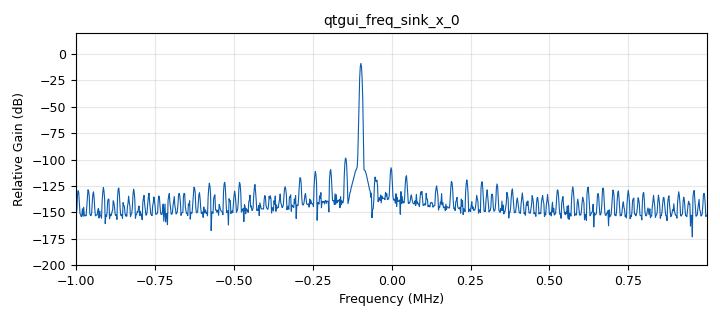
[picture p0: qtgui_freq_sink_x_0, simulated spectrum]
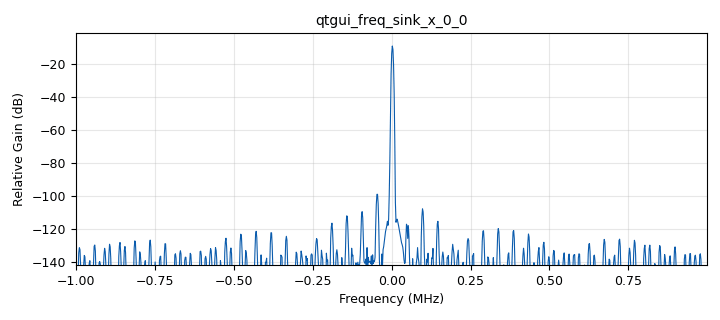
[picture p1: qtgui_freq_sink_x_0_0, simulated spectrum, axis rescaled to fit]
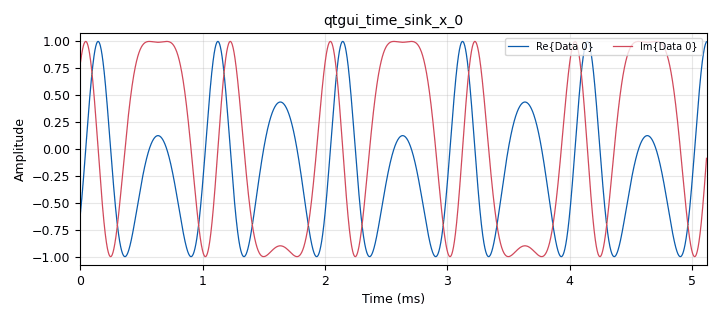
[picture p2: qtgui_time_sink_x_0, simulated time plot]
options:
  parameters:
    generate_options: qt_gui
    id: top_block
    output_language: python
  states: {}

blocks:
- name: ampl
  id: variable_qtgui_range
  parameters:
    start: '0'
    step: '0.01'
    stop: '1'
    value: '1'
  states: {}
- name: deviation
  id: variable_qtgui_range
  parameters:
    start: '0'
    step: '100'
    stop: '15000'
    value: '2500'
  states: {}
- name: freq
  id: variable
  parameters:
    value: '500'
  states: {}
- name: freq_0
  id: variable
  parameters:
    value: '800'
  states: {}
- name: freq_Hz
  id: variable
  parameters:
    value: '-100000'
  states: {}
- name: ip
  id: variable
  parameters:
    value: '"ip:192.168.1.28"'
  states: {}
- name: samp_rate
  id: variable
  parameters:
    value: '2000000'
  states: {}
- name: analog_frequency_modulator_fc_0
  id: analog_frequency_modulator_fc
  parameters:
    sensitivity: 2*3.141592*deviation/48e3
  states: {}
- name: analog_sig_source_x_0
  id: analog_sig_source_x
  parameters:
    amp: '1'
    freq: freq
    offset: '0'
    phase: '0'
    samp_rate: '48000'
    type: float
    waveform: analog.GR_COS_WAVE
  states: {}
- name: analog_sig_source_x_0_0
  id: analog_sig_source_x
  parameters:
    amp: '1'
    freq: freq_Hz
    offset: '0'
    phase: '0'
    samp_rate: samp_rate
    type: complex
    waveform: analog.GR_COS_WAVE
  states: {}
- name: analog_sig_source_x_0_1
  id: analog_sig_source_x
  parameters:
    amp: '0.'
    freq: freq_0
    offset: '0'
    phase: '0'
    samp_rate: '48000'
    type: float
    waveform: analog.GR_COS_WAVE
  states: {}
- name: blocks_add_xx_0
  id: blocks_add_xx
  parameters:
    type: float
  states: {}
- name: blocks_complex_to_interleaved_char_0
  id: blocks_complex_to_interleaved_char
  parameters:
    scale_factor: '127.0'
    vector_output: 'False'
  states: {}
- name: blocks_file_sink_0
  id: blocks_file_sink
  parameters:
    file: outfile
    type: byte
  states: {}
- name: blocks_multiply_xx_0
  id: blocks_multiply_xx
  parameters:
    type: complex
  states: {}
- name: blocks_throttle_0
  id: blocks_throttle
  parameters:
    samples_per_second: samp_rate
    type: complex
  states: {}
- name: hilbert_fc_0
  id: hilbert_fc
  parameters:
    num_taps: '513'
  states: {state: disabled}
- name: import_0
  id: import
  parameters:
    imports: import math
  states: {}
- name: import_0_0
  id: import
  parameters:
    imports: import numpy
  states: {}
- name: qtgui_freq_sink_x_0
  id: qtgui_freq_sink_x
  parameters:
    bw: samp_rate
    fc: '0'
    fftsize: '1024'
    grid: 'True'
    type: complex
    ymax: '20'
    ymin: '-200'
  states: {}
- name: qtgui_freq_sink_x_0_0
  id: qtgui_freq_sink_x
  parameters:
    bw: samp_rate
    fc: '0'
    fftsize: '1024'
    grid: 'True'
    type: complex
    ymax: '-20'
    ymin: '-200'
  states: {}
- name: qtgui_time_sink_x_0
  id: qtgui_time_sink_x
  parameters:
    size: '10240'
    srate: samp_rate
    type: complex
  states: {}
- name: rational_resampler_xxx_0
  id: rational_resampler_xxx
  parameters:
    decim: '3'
    fbw: '0.25'
    interp: '125'
    taps: ''
    type: ccc
  states: {}

connections:
- [analog_frequency_modulator_fc_0, '0', rational_resampler_xxx_0, '0']
- [analog_sig_source_x_0, '0', blocks_add_xx_0, '1']
- [analog_sig_source_x_0_0, '0', blocks_multiply_xx_0, '1']
- [analog_sig_source_x_0_1, '0', blocks_add_xx_0, '0']
- [blocks_add_xx_0, '0', analog_frequency_modulator_fc_0, '0']
- [blocks_complex_to_interleaved_char_0, '0', blocks_file_sink_0, '0']
- [blocks_multiply_xx_0, '0', blocks_throttle_0, '0']
- [blocks_multiply_xx_0, '0', qtgui_freq_sink_x_0, '0']
- [blocks_throttle_0, '0', blocks_complex_to_interleaved_char_0, '0']
- [hilbert_fc_0, '0', rational_resampler_xxx_0, '0']
- [rational_resampler_xxx_0, '0', blocks_multiply_xx_0, '0']
- [rational_resampler_xxx_0, '0', qtgui_freq_sink_x_0_0, '0']
- [rational_resampler_xxx_0, '0', qtgui_time_sink_x_0, '0']

metadata:
  file_format: 1
